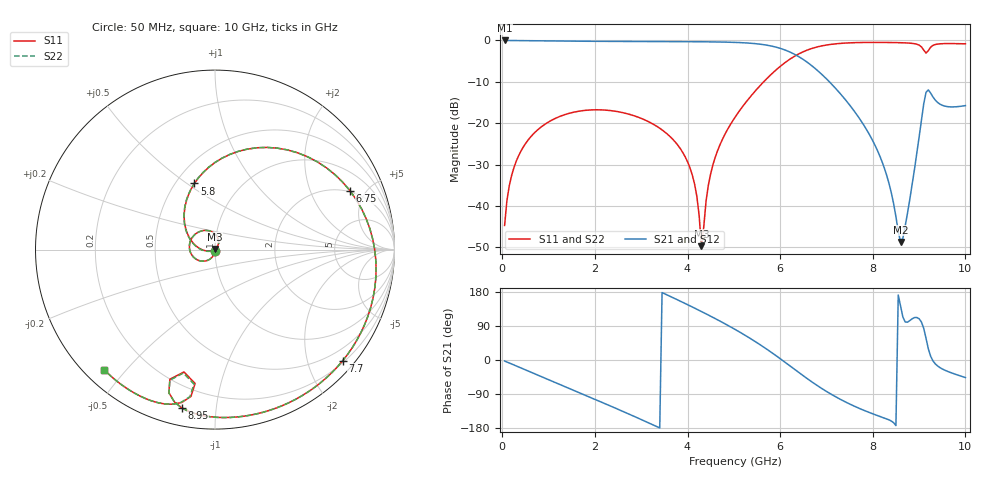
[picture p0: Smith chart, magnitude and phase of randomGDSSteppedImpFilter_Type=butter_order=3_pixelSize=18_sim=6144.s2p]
! freq	dB(S11)	phase(S11)	dB(S12)	phase(S12)
!  dB(S21)	phase(S21)	dB(S22)	phase(S22)
!S-par simulation data
#  GHz  S  DB  R 50
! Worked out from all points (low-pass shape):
!   200 points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, 50 MHz to 10 GHz, reference 50 ohm
!   highest |S21| = 0.00 dB at 50 MHz (marker M1); lowest = -48.7 dB at 8.6 GHz (marker M2)
!   |S21| within 3 dB of the highest: start of sweep to 6.25 GHz
!   lowest |S11| = -49.7 dB at 4.3 GHz (marker M3), VSWR 1.01, Z = 49.9 + j0.318 ohm
!   |S11| at or under -10 dB: start of sweep to 5.644 GHz
!   |S22| runs from -54.5 to -0.5 dB; largest |S21 - S12| = 0
!   S11 on the Smith chart (normalised r, x): 50 MHz: 1.00, -0.01; 5.8 GHz: 0.62, +0.54; 6.75 GHz: 1.93, +3.88; 7.7 GHz: 0.24, -2.65; 8.95 GHz: 0.09, -0.81; 10 GHz: 0.06, -0.44
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0.05  -44.70 -92.0  -0.00 -2.7  -0.00 -2.7  -44.70 -92.0
0.2  -32.69 -100.4  -0.02 -10.5  -0.02 -10.5  -32.69 -100.4
0.5  -24.95 -116.3  -0.04 -26.0  -0.04 -26.0  -24.95 -116.2
1.75  -16.95 178.1  -0.19 -90.7  -0.19 -90.7  -16.95 178.2
2.5  -17.22 138.7  -0.24 -130.1  -0.24 -130.1  -17.22 138.7
3.4  -21.22 89.7  -0.26 -179.3  -0.26 -179.3  -21.22 89.4
4.1  -32.41 53.8  -0.29 140.1  -0.29 140.1  -32.45 50.4
4.25  -42.21 60.4  -0.31 131.0  -0.31 131.0  -42.71 47.9
4.3  -49.71 102.9  -0.31 128.0  -0.31 128.0  -54.49 84.3
4.4  -38.83 -165.9  -0.33 121.8  -0.33 121.8  -39.10 -156.9
4.5  -32.18 -164.5  -0.34 115.5  -0.34 115.5  -32.25 -160.0
5.05  -18.15 164.2  -0.48 79.1  -0.48 79.1  -18.16 165.3
5.8  -8.27 107.3  -1.33 21.1  -1.33 21.1  -8.27 107.5
6.3  -3.89 63.0  -3.28 -23.6  -3.28 -23.6  -3.89 63.0
6.7  -1.88 27.7  -6.26 -59.1  -6.26 -59.1  -1.88 27.7
6.75  -1.72 23.6  -6.72 -63.2  -6.72 -63.2  -1.72 23.5
7.7  -0.51 -41.1  -18.65 -127.2  -18.65 -127.2  -0.51 -41.2
8.35  -0.49 -73.5  -34.54 -157.9  -34.54 -157.9  -0.49 -73.6
8.6  -0.55 -84.8  -48.69 142.7  -48.69 142.7  -0.55 -84.8
8.95  -0.91 -101.9  -27.34 112.2  -27.34 112.2  -0.90 -101.9
9.2  -2.46 -98.5  -11.95 29.3  -11.95 29.3  -2.40 -98.9
10  -0.81 -132.6  -15.74 -46.3  -15.74 -46.3  -0.81 -132.8
